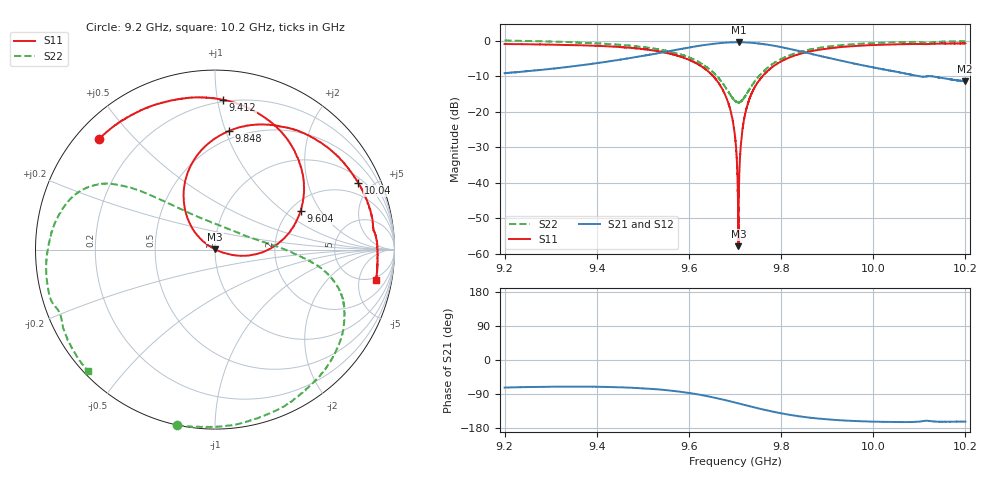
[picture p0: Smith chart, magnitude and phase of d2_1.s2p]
!Agilent Technologies,N5242A,MY51221714,A.09.90.19
!Agilent N5242A: A.09.90.19
!Date: Tuesday, March 26, 2024 16:09:34
!Correction: S11(Full 2 Port(1,2))
!S21(Full 2 Port(1,2))
!S12(Full 2 Port(1,2))
!S22(Full 2 Port(1,2))
!S2P File: Measurements: S11, S21, S12, S22:
# Hz S  dB  R 50
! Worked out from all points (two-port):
!   16001 points, 9.2 GHz to 10.2 GHz, reference 50 ohm
!   highest |S21| = -0.48 dB at 9.709 GHz (marker M1); lowest = -11.5 dB at 10.2 GHz (marker M2)
!   |S21| within 3 dB of the highest: 9.536911 GHz to 9.536963 GHz (51.9 kHz wide, 0.000544 % of centre); 9.537 GHz to 9.857 GHz (319.5 MHz wide, 3.3 % of centre)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
!   lowest |S11| = -57.9 dB at 9.707 GHz (marker M3), VSWR 1.00, Z = 50 + j0.127 ohm
!   |S11| at or under -10 dB: 9.652 GHz to 9.76 GHz (107.7 MHz wide, 1.11 % of centre); 9.760179 GHz to 9.760189 GHz (10.23 kHz wide, 0.000105 % of centre)
!   |S22| runs from -17.5 to 0.0 dB; largest |S21 - S12| = 0.013
!   S11 on the Smith chart (normalised r, x): 9.2 GHz: 0.07, +0.40; 9.412 GHz: 0.19, +1.04; 9.604 GHz: 2.27, +1.34; 9.848 GHz: 0.43, +1.03; 10.04 GHz: 1.26, +4.17; 10.2 GHz: 4.27, -8.69
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9.2e9  -0.98 136.1  -9.19 -72.8  -9.17 -73.5  -0.00 -102.3
9.366688e9  -1.35 98.6  -6.97 -70.3  -6.96 -71.0  -0.62 -57.9
9.412438e9  -1.57 87.0  -6.15 -70.9  -6.14 -71.6  -0.89 -46.5
9.533375e9  -3.05 51.1  -3.57 -77.6  -3.56 -78.2  -2.45 -20.1
9.603875e9  -5.64 24.2  -1.89 -87.7  -1.88 -88.3  -4.96 -8.4
9.6715e9  -13.42 -7.8  -0.68 -103.7  -0.67 -104.2  -11.70 10.5
9.68975e9  -19.42 -16.7  -0.52 -109.1  -0.52 -109.6  -15.28 29.7
9.7e9  -26.92 -21.2  -0.49 -112.2  -0.48 -112.7  -16.92 50.4
9.703875e9  -33.48 -18.2  -0.48 -113.4  -0.47 -114.0  -17.33 60.1
9.7075e9  -57.93 93.8  -0.49 -114.6  -0.48 -115.1  -17.39 69.9
9.708562e9  -41.78 135.8  -0.48 -114.9  -0.46 -115.4  -17.36 72.6
9.711062e9  -32.37 147.8  -0.49 -115.6  -0.47 -116.2  -17.27 79.0
9.715e9  -26.45 146.8  -0.51 -116.9  -0.48 -117.4  -16.86 88.7
9.719812e9  -22.16 145.3  -0.52 -118.4  -0.50 -118.9  -16.08 99.4
9.741062e9  -13.56 133.3  -0.69 -124.8  -0.68 -125.4  -11.84 126.0
9.78375e9  -7.22 111.6  -1.45 -136.7  -1.46 -137.3  -6.42 140.1
9.847625e9  -3.53 83.2  -3.21 -149.9  -3.21 -150.4  -2.97 148.8
9.866688e9  -2.98 76.0  -3.80 -152.7  -3.79 -153.2  -2.43 151.5
1.003338e10  -1.14 26.2  -8.41 -163.4  -8.40 -164.0  -0.54 -177.0
1.003931e10  -1.10 24.9  -8.53 -163.4  -8.53 -164.0  -0.51 -175.6
1.019969e10  -0.80 -10.5  -11.51 -162.4  -11.50 -163.0  -0.18 -136.3
1.02e10  -0.78 -10.6  -11.48 -162.5  -11.49 -163.0  -0.19 -136.2
